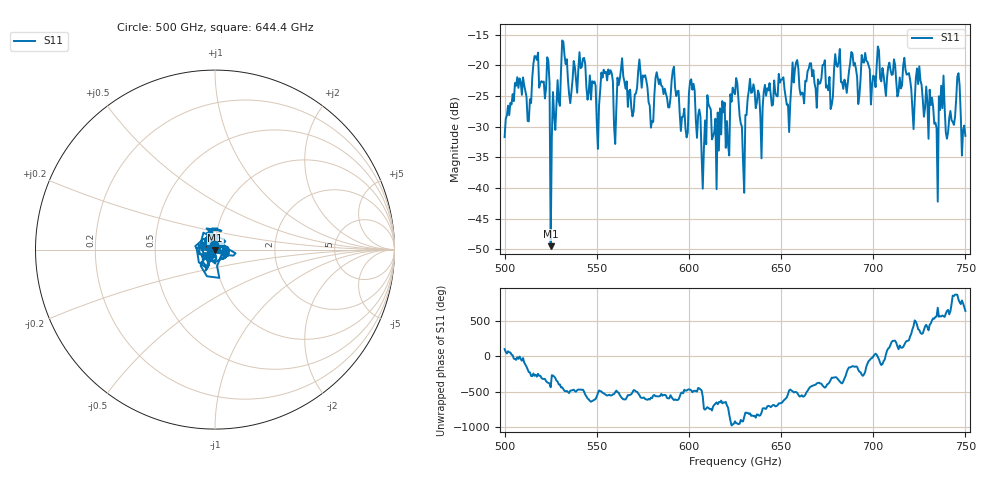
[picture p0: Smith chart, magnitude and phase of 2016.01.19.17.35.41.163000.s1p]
!Created with skrf (http://scikit-rf.org).
# GHz S RI R 50.0
!freq ReS11 ImS11
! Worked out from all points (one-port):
!   401 points, 500 GHz to 750 GHz, reference 50 ohm
!   lowest |S11| = -49.5 dB at 525 GHz (marker M1), VSWR 1.01, Z = 50.1 - j0.331 ohm
!   |S11| at or under -10 dB: start of sweep to end of sweep
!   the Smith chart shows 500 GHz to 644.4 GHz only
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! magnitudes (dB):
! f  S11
! 500 GHz  -31.7
! 506.9 GHz  -21.9
! 513.1 GHz  -29.1
! 516.9 GHz  -18.5
! 523.1 GHz  -18.7
! 525 GHz  -49.5
! 526.2 GHz  -24.4
! 531.2 GHz  -16.0
! 550.6 GHz  -33.6
! 562.5 GHz  -22.3
! 579.4 GHz  -30.2
! 583.1 GHz  -22.1
! 593.8 GHz  -24.3
! 598.1 GHz  -30.3
! 601.9 GHz  -24.0
! 608.1 GHz  -33.6
! 611.2 GHz  -26.8
! 621.2 GHz  -33.1
! 625 GHz  -24.7
! 628.8 GHz  -30.0
! 633.8 GHz  -24.5
! 656.2 GHz  -19.5
! 687.5 GHz  -19.6
! 718.8 GHz  -21.5
! 733.8 GHz  -29.3
! 736.9 GHz  -23.3
! 746.2 GHz  -21.3
! 750 GHz  -31.5
